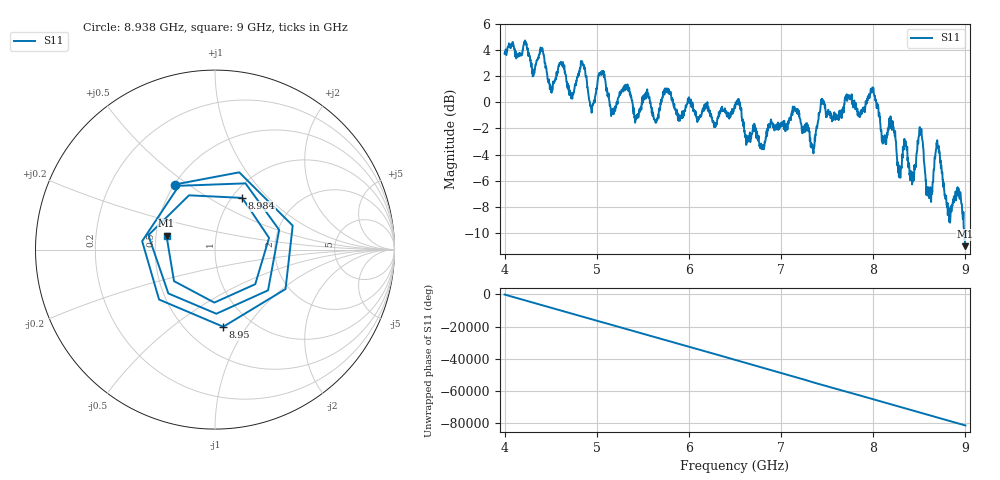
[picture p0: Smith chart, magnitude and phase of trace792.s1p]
! Created with skrf 1.8.0 (http://scikit-rf.org).
# Hz S RI R 50.0
!freq ReS11 ImS11
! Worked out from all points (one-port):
!   1601 points, 4 GHz to 9 GHz, reference 50 ohm
!   lowest |S11| = -11.0 dB at 9 GHz (marker M1), VSWR 1.78, Z = 28.4 + j4.74 ohm
!   |S11| at or under -10 dB: 8.986133 GHz to end of sweep
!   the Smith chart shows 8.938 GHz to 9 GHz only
!   S11 on the Smith chart (normalised r, x): 8.938 GHz: 0.50, +0.44; 8.95 GHz: 0.74, -0.79; 8.984 GHz: 1.11, +0.72; 9 GHz: 0.57, +0.09
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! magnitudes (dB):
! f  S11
! 4 GHz  3.7
! 4.509 GHz  0.7
! 4.625 GHz  2.9
! 4.725 GHz  0.4
! 4.85 GHz  2.9
! 4.941 GHz  -0.6
! 5.05 GHz  2.3
! 5.166 GHz  -0.8
! 5.25 GHz  0.8
! 5.875 GHz  -1.0
! 6.5 GHz  -0.4
! 6.791 GHz  -3.5
! 7.125 GHz  -0.5
! 7.344 GHz  -3.5
! 7.447 GHz  0.1
! 7.75 GHz  0.5
! 7.994 GHz  1.1
! 8.116 GHz  -2.9
! 8.375 GHz  -4.2
! 8.425 GHz  -5.8
! 8.516 GHz  -2.2
! 8.6 GHz  -7.0
! 8.697 GHz  -3.2
! 8.812 GHz  -8.1
! 8.938 GHz  -7.4
! 8.95 GHz  -7.3
! 8.984 GHz  -9.7
! 9 GHz  -11.0
